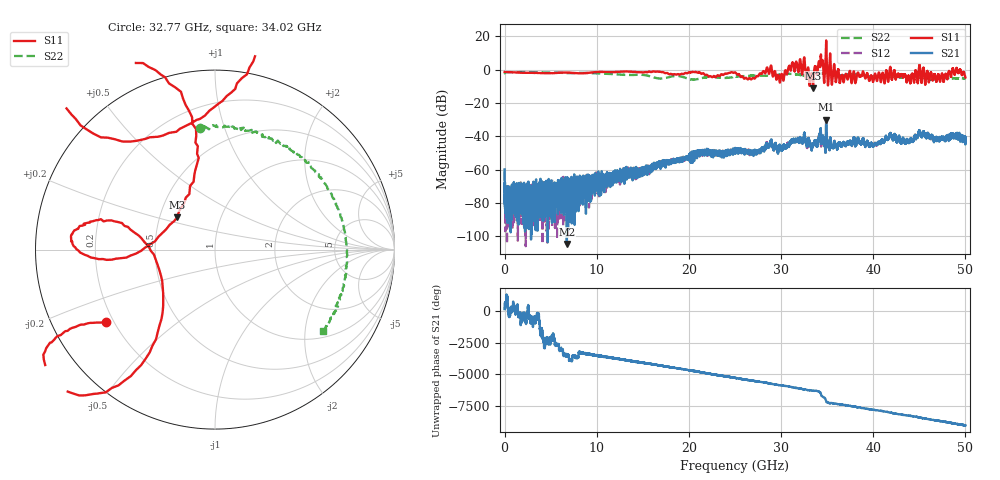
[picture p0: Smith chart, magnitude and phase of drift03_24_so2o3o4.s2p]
!Created with skrf (http://scikit-rf.org).
# Hz S RI R 50.0
!freq ReS11 ImS11 ReS21 ImS21 ReS12 ImS12 ReS22 ImS22
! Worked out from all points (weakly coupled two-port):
!   10001 points, 300 kHz to 50 GHz, reference 50 ohm
!   highest |S21| = -29.92 dB at 34.9 GHz (marker M1); lowest = -104.6 dB at 6.755 GHz (marker M2)
!   lowest |S11| = -11.1 dB at 33.47 GHz (marker M3), VSWR 1.77, Z = 30.8 + j12 ohm
!   |S11| at or under -10 dB: 33.44718 GHz to 33.4863 GHz (39.12 MHz wide, 0.117 % of centre)
!   |S22| runs from -5.9 to -1.3 dB; largest |S21 - S12| = 0.0086
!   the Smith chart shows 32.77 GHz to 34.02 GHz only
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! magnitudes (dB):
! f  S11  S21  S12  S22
! 300 kHz  -1.3  -59.8  -61.2  -2.0
! 255.3 MHz  -1.3  -78.2  -104.4  -1.4
! 585.3 MHz  -1.4  -91.4  -78.6  -1.5
! 6.755 GHz  -1.7  -104.6  -73.2  -2.0
! 8.335 GHz  -2.2  -67.9  -66.2  -1.9
! 16.67 GHz  -1.1  -57.6  -57.7  -5.2
! 25 GHz  -1.5  -48.7  -48.2  -4.3
! 26.92 GHz  -4.9  -49.3  -49.9  -3.6
! 28.73 GHz  -2.3  -45.6  -45.8  -3.5
! 30.06 GHz  -2.5  -47.2  -47.9  -2.8
! 31.87 GHz  -1.5  -42.3  -42.3  -2.9
! 33.34 GHz  -2.2  -47.7  -47.2  -2.9
! 33.47 GHz  -11.1  -45.3  -45.1  -2.8
! 34.3 GHz  7.4  -35.3  -35.4  -2.3
! 34.9 GHz  17.6  -29.9  -31.3  -2.4
! 36.58 GHz  -3.4  -45.6  -45.8  -3.6
! 40.17 GHz  -2.6  -44.7  -44.7  -3.7
! 41.67 GHz  -5.7  -41.1  -41.1  -3.7
! 43.84 GHz  -3.5  -43.9  -43.6  -3.9
! 45.21 GHz  -6.7  -38.8  -39.8  -4.5
! 49.22 GHz  -2.0  -40.1  -38.8  -5.2
! 50 GHz  -4.6  -40.9  -42.4  -5.0
